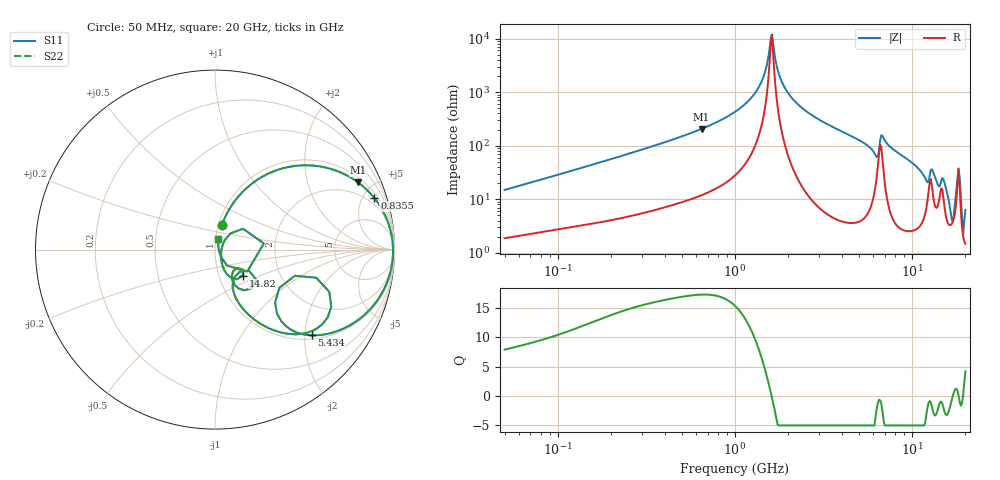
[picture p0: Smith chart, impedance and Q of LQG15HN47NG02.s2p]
!Murata Part Number: LQG15HN47NG02
!These Parameters are Measured in Series Mode Connection
!  o--[Z]--o
!Port1  Port2
!  o-------o
!Freq. Start=50[MHz] Stop=20[GHz], 401[Steps]
# Hz S RI R 50
!Freq.(Hz) S11(Real) S11(Imag) S21(Real) S21(Imag) S12(Real) S12(Imag) S22(Real) S22(Imag)
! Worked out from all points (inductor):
!   401 points, 50 MHz to 20 GHz, reference 50 ohm
!   read as one part in series: L = 46.3 nH near 51.52 MHz
!   highest Q = 17.3 at 647.7 MHz (marker M1), where L = 50.6 nH
!   self-resonance near 1.591 GHz
!   S11 on the Smith chart (normalised r, x): 50 MHz: 1.04, +0.30; 835.5 MHz: 1.36, +6.04; 5.434 GHz: 1.09, -2.17; 14.82 GHz: 1.30, -0.39; 20 GHz: 1.03, +0.12
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5e7  0.0386 0.1396  0.9614 -0.1396  0.9614 -0.1396  0.0386 0.1396
1.364002e8  0.1498 0.3174  0.8502 -0.3174  0.8502 -0.3174  0.1498 0.3174
3.721004e8  0.5311 0.4691  0.4689 -0.4691  0.4689 -0.4691  0.5311 0.4691
6.476653e8  0.796 0.3751  0.204 -0.3751  0.204 -0.3751  0.796 0.3751
8.354841e8  0.8878 0.2874  0.1122 -0.2874  0.1122 -0.2874  0.8878 0.2874
1e9  0.9358 0.2148  0.0642 -0.2148  0.0642 -0.2148  0.9358 0.2148
1.369645e9  0.9844 0.0754  0.0156 -0.0754  0.0156 -0.0754  0.9844 0.0754
1.614971e9  0.9918 -0.0013  0.00821 0.0013  0.00821 0.0013  0.9918 -0.0013
1.904239e9  0.9865 -0.0793  0.0135 0.0793  0.0135 0.0793  0.9865 -0.0793
2.728004e9  0.9259 -0.2495  0.0741 0.2495  0.0741 0.2495  0.9259 -0.2495
5.433528e9  0.5384 -0.4777  0.4616 0.4777  0.4616 0.4777  0.5384 -0.4777
6.217679e9  0.3456 -0.3569  0.6544 0.3569  0.6544 0.3569  0.3456 -0.3569
6.503449e9  0.4451 -0.1461  0.5549 0.1461  0.5549 0.1461  0.4451 -0.1461
6.802353e9  0.6478 -0.3185  0.3522 0.3185  0.3522 0.3185  0.6478 -0.3185
7.442007e9  0.4917 -0.468  0.5083 0.468  0.5083 0.468  0.4917 -0.468
1.131968e10  0.1162 -0.2697  0.8838 0.2697  0.8838 0.2697  0.1162 -0.2697
1.482269e10  0.1557 -0.1448  0.8443 0.1448  0.8443 0.1448  0.1557 -0.1448
1.670968e10  0.0337 -0.0253  0.9663 0.0253  0.9663 0.0253  0.0337 -0.0253
1.721783e10  0.0426 0.026  0.9574 -0.026  0.9574 -0.026  0.0426 0.026
1.828096e10  0.2724 0.0345  0.7276 -0.0345  0.7276 -0.0345  0.2724 0.0345
1.940974e10  0.0202 0.00292  0.9798 -0.00292  0.9798 -0.00292  0.0202 0.00292
2e10  0.0181 0.0597  0.9819 -0.0597  0.9819 -0.0597  0.0181 0.0597
